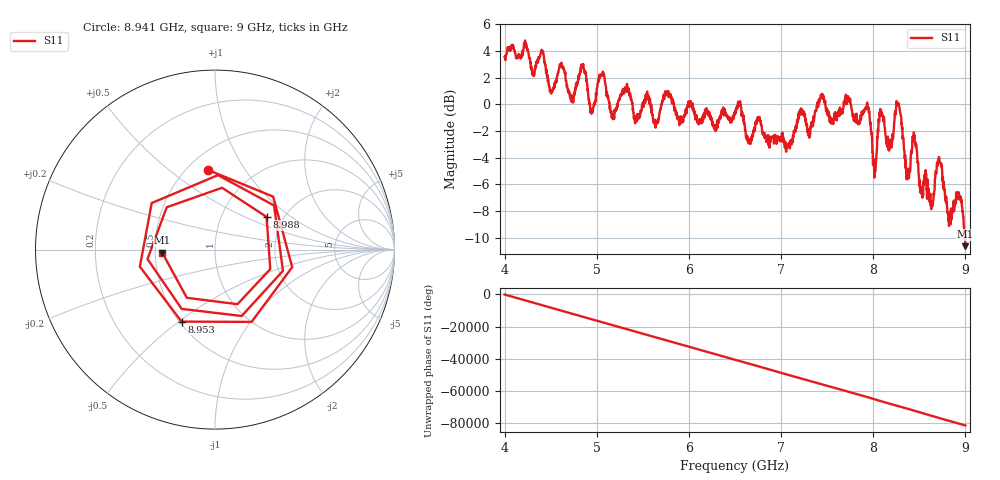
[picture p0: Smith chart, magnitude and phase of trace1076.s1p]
! Created with skrf 1.8.0 (http://scikit-rf.org).
# Hz S RI R 50.0
!freq ReS11 ImS11
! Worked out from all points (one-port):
!   1601 points, 4 GHz to 9 GHz, reference 50 ohm
!   lowest |S11| = -10.6 dB at 9 GHz (marker M1), VSWR 1.83, Z = 27.3 - j1.05 ohm
!   |S11| at or under -10 dB: 8.996113 GHz to end of sweep
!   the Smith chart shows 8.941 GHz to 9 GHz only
!   S11 on the Smith chart (normalised r, x): 8.941 GHz: 0.62, +0.69; 8.953 GHz: 0.51, -0.51; 8.988 GHz: 1.63, +0.67; 9 GHz: 0.55, -0.02
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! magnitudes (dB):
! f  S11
! 4 GHz  3.6
! 4.403 GHz  4.0
! 4.509 GHz  1.0
! 4.625 GHz  2.8
! 4.731 GHz  0.6
! 4.847 GHz  2.8
! 4.944 GHz  -0.4
! 5.053 GHz  2.3
! 5.166 GHz  -0.8
! 5.25 GHz  0.5
! 5.875 GHz  -0.8
! 6.5 GHz  -0.6
! 7.125 GHz  -2.8
! 7.75 GHz  0.4
! 7.938 GHz  0.0
! 8.016 GHz  -4.5
! 8.081 GHz  -0.4
! 8.178 GHz  -2.9
! 8.272 GHz  0.1
! 8.375 GHz  -5.3
! 8.447 GHz  -2.3
! 8.628 GHz  -7.8
! 8.716 GHz  -4.0
! 8.825 GHz  -8.8
! 8.941 GHz  -7.0
! 8.953 GHz  -7.1
! 8.988 GHz  -9.4
! 9 GHz  -10.6
